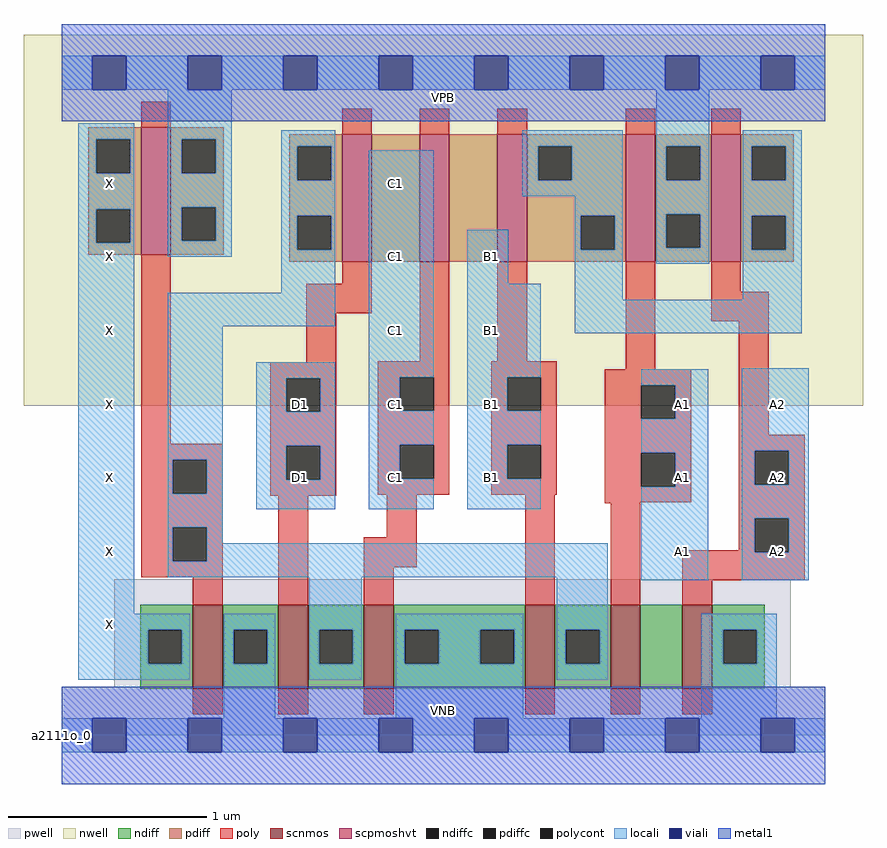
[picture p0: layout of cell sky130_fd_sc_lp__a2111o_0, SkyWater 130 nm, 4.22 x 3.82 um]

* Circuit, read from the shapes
.subckt sky130_fd_sc_lp__a2111o_0 A1 A2 B1 C1 D1 VGND VNB VPB VPWR X
XM1 VGND n1 X VNB sky130_fd_pr__nfet_01v8 w=0.42 l=0.15
XM2 n1 D1 VGND VNB sky130_fd_pr__nfet_01v8 w=0.42 l=0.15
XM3 VGND C1 n1 VNB sky130_fd_pr__nfet_01v8 w=0.42 l=0.15
XM4 n1 B1 VGND VNB sky130_fd_pr__nfet_01v8 w=0.42 l=0.15
XM5 n2 A1 n1 VNB sky130_fd_pr__nfet_01v8 w=0.42 l=0.15
XM6 VGND A2 n2 VNB sky130_fd_pr__nfet_01v8 w=0.42 l=0.15
XM7 VPWR n1 X VPB sky130_fd_pr__pfet_01v8_hvt w=0.64 l=0.15
XM8 n3 D1 n1 VPB sky130_fd_pr__pfet_01v8_hvt w=0.64 l=0.15
XM9 n4 C1 n3 VPB sky130_fd_pr__pfet_01v8_hvt w=0.64 l=0.15
XM10 n5 B1 n4 VPB sky130_fd_pr__pfet_01v8_hvt w=0.64 l=0.15
XM11 VPWR A1 n5 VPB sky130_fd_pr__pfet_01v8_hvt w=0.64 l=0.15
XM12 n5 A2 VPWR VPB sky130_fd_pr__pfet_01v8_hvt w=0.64 l=0.15
.ends

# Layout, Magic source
magic
tech sky130A
magscale 1 2
<< nwell >>
rect -38 331 806 704
<< pwell >>
rect 53 49 733 157
rect 0 0 768 49
<< scnmos >>
rect 132 47 162 131
rect 218 47 248 131
rect 304 47 334 131
rect 466 47 496 131
rect 552 47 582 131
rect 624 47 654 131
<< scpmoshvt >>
rect 80 483 110 611
rect 282 476 312 604
rect 360 476 390 604
rect 438 476 468 604
rect 567 476 597 604
rect 653 476 683 604
<< ndiff >>
rect 79 106 132 131
rect 79 72 87 106
rect 121 72 132 106
rect 79 47 132 72
rect 162 106 218 131
rect 162 72 173 106
rect 207 72 218 106
rect 162 47 218 72
rect 248 106 304 131
rect 248 72 259 106
rect 293 72 304 106
rect 248 47 304 72
rect 334 106 466 131
rect 334 72 345 106
rect 379 72 421 106
rect 455 72 466 106
rect 334 47 466 72
rect 496 106 552 131
rect 496 72 507 106
rect 541 72 552 106
rect 496 47 552 72
rect 582 47 624 131
rect 654 106 707 131
rect 654 72 665 106
rect 699 72 707 106
rect 654 47 707 72
<< pdiff >>
rect 27 599 80 611
rect 27 565 35 599
rect 69 565 80 599
rect 27 529 80 565
rect 27 495 35 529
rect 69 495 80 529
rect 27 483 80 495
rect 110 599 163 611
rect 110 565 121 599
rect 155 565 163 599
rect 110 531 163 565
rect 110 497 121 531
rect 155 497 163 531
rect 110 483 163 497
rect 229 592 282 604
rect 229 558 237 592
rect 271 558 282 592
rect 229 522 282 558
rect 229 488 237 522
rect 271 488 282 522
rect 229 476 282 488
rect 312 476 360 604
rect 390 476 438 604
rect 468 592 567 604
rect 468 558 479 592
rect 513 558 567 592
rect 468 522 567 558
rect 468 488 522 522
rect 556 488 567 522
rect 468 476 567 488
rect 597 592 653 604
rect 597 558 608 592
rect 642 558 653 592
rect 597 524 653 558
rect 597 490 608 524
rect 642 490 653 524
rect 597 476 653 490
rect 683 592 736 604
rect 683 558 694 592
rect 728 558 736 592
rect 683 522 736 558
rect 683 488 694 522
rect 728 488 736 522
rect 683 476 736 488
<< ndiffc >>
rect 87 72 121 106
rect 173 72 207 106
rect 259 72 293 106
rect 345 72 379 106
rect 421 72 455 106
rect 507 72 541 106
rect 665 72 699 106
<< pdiffc >>
rect 35 565 69 599
rect 35 495 69 529
rect 121 565 155 599
rect 121 497 155 531
rect 237 558 271 592
rect 237 488 271 522
rect 479 558 513 592
rect 522 488 556 522
rect 608 558 642 592
rect 608 490 642 524
rect 694 558 728 592
rect 694 488 728 522
<< poly >>
rect 80 611 110 637
rect 282 604 312 630
rect 360 604 390 630
rect 438 604 468 630
rect 567 604 597 630
rect 653 604 683 630
rect 80 293 110 483
rect 282 454 312 476
rect 246 424 312 454
rect 246 375 276 424
rect 360 376 390 476
rect 438 376 468 476
rect 210 359 276 375
rect 210 325 226 359
rect 260 325 276 359
rect 80 277 162 293
rect 80 243 112 277
rect 146 243 162 277
rect 80 209 162 243
rect 210 291 276 325
rect 210 257 226 291
rect 260 257 276 291
rect 210 241 276 257
rect 318 360 390 376
rect 318 326 340 360
rect 374 326 390 360
rect 318 292 390 326
rect 318 258 340 292
rect 374 258 390 292
rect 318 242 390 258
rect 432 360 498 376
rect 567 368 597 476
rect 653 446 683 476
rect 653 416 711 446
rect 432 326 448 360
rect 482 326 498 360
rect 432 292 498 326
rect 432 258 448 292
rect 482 258 498 292
rect 432 242 498 258
rect 546 352 633 368
rect 546 318 583 352
rect 617 318 633 352
rect 546 284 633 318
rect 546 250 583 284
rect 617 250 633 284
rect 80 175 112 209
rect 146 175 162 209
rect 80 159 162 175
rect 132 131 162 159
rect 218 131 248 241
rect 327 199 357 242
rect 304 169 357 199
rect 304 131 334 169
rect 466 131 496 242
rect 546 234 633 250
rect 681 302 711 416
rect 681 286 747 302
rect 681 252 697 286
rect 731 252 747 286
rect 546 233 582 234
rect 552 131 582 233
rect 681 218 747 252
rect 681 186 697 218
rect 624 184 697 186
rect 731 184 747 218
rect 624 156 747 184
rect 624 131 654 156
rect 132 21 162 47
rect 218 21 248 47
rect 304 21 334 47
rect 466 21 496 47
rect 552 21 582 47
rect 624 21 654 47
<< polycont >>
rect 226 325 260 359
rect 112 243 146 277
rect 226 257 260 291
rect 340 326 374 360
rect 340 258 374 292
rect 448 326 482 360
rect 448 258 482 292
rect 583 318 617 352
rect 583 250 617 284
rect 112 175 146 209
rect 697 252 731 286
rect 697 184 731 218
<< locali >>
rect 0 649 31 683
rect 65 649 127 683
rect 161 649 223 683
rect 257 649 319 683
rect 353 649 415 683
rect 449 649 511 683
rect 545 649 607 683
rect 641 649 703 683
rect 737 649 768 683
rect 17 599 73 615
rect 17 565 35 599
rect 69 565 73 599
rect 17 529 73 565
rect 17 495 35 529
rect 69 495 73 529
rect 17 122 73 495
rect 107 599 171 649
rect 107 565 121 599
rect 155 565 171 599
rect 107 531 171 565
rect 107 497 121 531
rect 155 497 171 531
rect 107 481 171 497
rect 221 592 275 608
rect 221 558 237 592
rect 271 558 275 592
rect 463 592 564 608
rect 221 522 275 558
rect 221 488 237 522
rect 271 488 275 522
rect 221 445 275 488
rect 107 411 275 445
rect 107 277 162 411
rect 107 243 112 277
rect 146 243 162 277
rect 107 209 162 243
rect 196 359 275 375
rect 196 325 226 359
rect 260 325 275 359
rect 196 291 275 325
rect 196 257 226 291
rect 260 257 275 291
rect 196 227 275 257
rect 309 360 374 588
rect 463 558 479 592
rect 513 558 564 592
rect 463 542 564 558
rect 516 522 564 542
rect 309 326 340 360
rect 309 292 374 326
rect 309 258 340 292
rect 309 227 374 258
rect 408 454 449 508
rect 516 488 522 522
rect 556 488 564 522
rect 408 360 482 454
rect 516 438 564 488
rect 598 592 651 649
rect 598 558 608 592
rect 642 558 651 592
rect 598 524 651 558
rect 598 490 608 524
rect 642 490 651 524
rect 598 474 651 490
rect 685 592 744 608
rect 685 558 694 592
rect 728 558 744 592
rect 685 522 744 558
rect 685 488 694 522
rect 728 488 744 522
rect 685 438 744 488
rect 516 404 744 438
rect 408 326 448 360
rect 408 292 482 326
rect 408 258 448 292
rect 408 227 482 258
rect 583 352 650 368
rect 617 318 650 352
rect 583 284 650 318
rect 617 250 650 284
rect 107 175 112 209
rect 146 193 162 209
rect 146 175 549 193
rect 107 159 549 175
rect 17 106 129 122
rect 17 72 87 106
rect 121 72 129 106
rect 17 56 129 72
rect 163 106 215 122
rect 163 72 173 106
rect 207 72 215 106
rect 163 17 215 72
rect 249 106 302 159
rect 249 72 259 106
rect 293 72 302 106
rect 249 56 302 72
rect 336 106 464 122
rect 336 72 345 106
rect 379 72 421 106
rect 455 72 464 106
rect 336 17 464 72
rect 498 106 549 159
rect 583 156 650 250
rect 684 286 751 369
rect 684 252 697 286
rect 731 252 751 286
rect 684 218 751 252
rect 684 184 697 218
rect 731 184 751 218
rect 684 156 751 184
rect 498 72 507 106
rect 541 72 549 106
rect 498 56 549 72
rect 643 106 719 122
rect 643 72 665 106
rect 699 72 719 106
rect 643 17 719 72
rect 0 -17 31 17
rect 65 -17 127 17
rect 161 -17 223 17
rect 257 -17 319 17
rect 353 -17 415 17
rect 449 -17 511 17
rect 545 -17 607 17
rect 641 -17 703 17
rect 737 -17 768 17
<< viali >>
rect 31 649 65 683
rect 127 649 161 683
rect 223 649 257 683
rect 319 649 353 683
rect 415 649 449 683
rect 511 649 545 683
rect 607 649 641 683
rect 703 649 737 683
rect 31 -17 65 17
rect 127 -17 161 17
rect 223 -17 257 17
rect 319 -17 353 17
rect 415 -17 449 17
rect 511 -17 545 17
rect 607 -17 641 17
rect 703 -17 737 17
<< metal1 >>
rect 0 683 768 715
rect 0 649 31 683
rect 65 649 127 683
rect 161 649 223 683
rect 257 649 319 683
rect 353 649 415 683
rect 449 649 511 683
rect 545 649 607 683
rect 641 649 703 683
rect 737 649 768 683
rect 0 617 768 649
rect 0 17 768 49
rect 0 -17 31 17
rect 65 -17 127 17
rect 161 -17 223 17
rect 257 -17 319 17
rect 353 -17 415 17
rect 449 -17 511 17
rect 545 -17 607 17
rect 641 -17 703 17
rect 737 -17 768 17
rect 0 -49 768 -17
<< labels >>
flabel pwell s 0 0 768 49 0 FreeSans 200 0 0 0 VNB
port 7 nsew ground bidirectional
flabel nwell s 0 617 768 666 0 FreeSans 200 0 0 0 VPB
port 8 nsew power bidirectional
rlabel comment s 0 0 0 0 4 a2111o_0
flabel metal1 s 0 617 768 666 0 FreeSans 340 0 0 0 VPWR
port 9 nsew power bidirectional
flabel metal1 s 0 0 768 49 0 FreeSans 340 0 0 0 VGND
port 6 nsew ground bidirectional
flabel locali s 607 168 641 202 0 FreeSans 340 0 0 0 A1
port 1 nsew signal input
flabel locali s 607 242 641 276 0 FreeSans 340 0 0 0 A1
port 1 nsew signal input
flabel locali s 607 316 641 350 0 FreeSans 340 0 0 0 A1
port 1 nsew signal input
flabel locali s 703 168 737 202 0 FreeSans 340 0 0 0 A2
port 2 nsew signal input
flabel locali s 703 242 737 276 0 FreeSans 340 0 0 0 A2
port 2 nsew signal input
flabel locali s 703 316 737 350 0 FreeSans 340 0 0 0 A2
port 2 nsew signal input
flabel locali s 415 242 449 276 0 FreeSans 340 0 0 0 B1
port 3 nsew signal input
flabel locali s 415 316 449 350 0 FreeSans 340 0 0 0 B1
port 3 nsew signal input
flabel locali s 415 390 449 424 0 FreeSans 340 0 0 0 B1
port 3 nsew signal input
flabel locali s 415 464 449 498 0 FreeSans 340 0 0 0 B1
port 3 nsew signal input
flabel locali s 319 242 353 276 0 FreeSans 340 0 0 0 C1
port 4 nsew signal input
flabel locali s 319 316 353 350 0 FreeSans 340 0 0 0 C1
port 4 nsew signal input
flabel locali s 319 390 353 424 0 FreeSans 340 0 0 0 C1
port 4 nsew signal input
flabel locali s 319 464 353 498 0 FreeSans 340 0 0 0 C1
port 4 nsew signal input
flabel locali s 319 538 353 572 0 FreeSans 340 0 0 0 C1
port 4 nsew signal input
flabel locali s 223 242 257 276 0 FreeSans 340 0 0 0 D1
port 5 nsew signal input
flabel locali s 223 316 257 350 0 FreeSans 340 0 0 0 D1
port 5 nsew signal input
flabel locali s 31 94 65 128 0 FreeSans 340 0 0 0 X
port 10 nsew signal output
flabel locali s 31 168 65 202 0 FreeSans 340 0 0 0 X
port 10 nsew signal output
flabel locali s 31 242 65 276 0 FreeSans 340 0 0 0 X
port 10 nsew signal output
flabel locali s 31 316 65 350 0 FreeSans 340 0 0 0 X
port 10 nsew signal output
flabel locali s 31 390 65 424 0 FreeSans 340 0 0 0 X
port 10 nsew signal output
flabel locali s 31 464 65 498 0 FreeSans 340 0 0 0 X
port 10 nsew signal output
flabel locali s 31 538 65 572 0 FreeSans 340 0 0 0 X
port 10 nsew signal output
<< properties >>
string LEFsite unit
string LEFclass CORE
string FIXED_BBOX 0 0 768 666
string GDS_FILE $PDKPATH/libs.ref/sky130_fd_sc_lp/gds/sky130_fd_sc_lp.gds
string LEFsymmetry X Y R90
string GDS_END 1020066
string GDS_START 1010676
<< end >>
